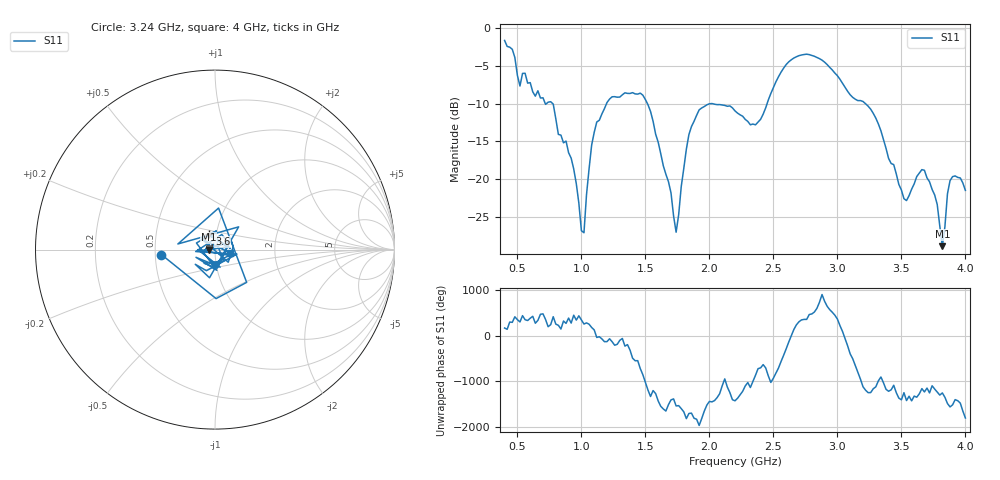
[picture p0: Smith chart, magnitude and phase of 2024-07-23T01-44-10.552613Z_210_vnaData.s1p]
!Created with skrf (http://scikit-rf.org).
# Hz S RI R 50.0
!freq ReS11 ImS11
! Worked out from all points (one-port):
!   181 points, 400 MHz to 4 GHz, reference 50 ohm
!   lowest |S11| = -28.9 dB at 3.82 GHz (marker M1), VSWR 1.07, Z = 46.5 + j0.0326 ohm
!   |S11| at or under -10 dB: 776.4 MHz to 1.196 GHz (419.7 MHz wide, 42.6 % of centre); 1.516 GHz to 2.008 GHz (491.7 MHz wide, 27.9 % of centre); 3.22 GHz to end of sweep (the widest 3 of 5)
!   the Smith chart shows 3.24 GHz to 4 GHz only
!   S11 on the Smith chart (normalised r, x): 3.24 GHz: 0.53, -0.04; 3.6 GHz: 0.93, +0.16; 4 GHz: 1.18, -0.04
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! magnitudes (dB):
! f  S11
! 400 MHz  -1.6
! 520 MHz  -7.7
! 780 MHz  -10.1
! 860 MHz  -15.2
! 940 MHz  -18.7
! 1.02 GHz  -27.1
! 1.08 GHz  -15.5
! 1.12 GHz  -12.4
! 1.3 GHz  -9.1
! 1.5 GHz  -9.5
! 1.68 GHz  -20.3
! 1.74 GHz  -27.0
! 1.76 GHz  -24.7
! 1.84 GHz  -14.1
! 1.92 GHz  -10.8
! 2.2 GHz  -11.0
! 2.36 GHz  -12.8
! 2.66 GHz  -3.9
! 2.88 GHz  -4.2
! 3.1 GHz  -8.8
! 3.24 GHz  -10.3
! 3.56 GHz  -22.2
! 3.6 GHz  -20.6
! 3.68 GHz  -18.8
! 3.78 GHz  -23.4
! 3.82 GHz  -28.9
! 3.88 GHz  -20.2
! 4 GHz  -21.5
